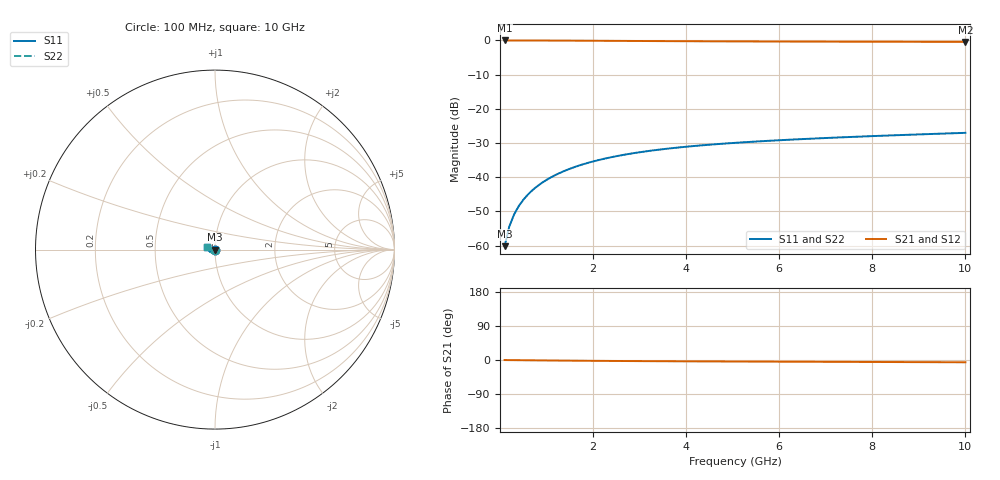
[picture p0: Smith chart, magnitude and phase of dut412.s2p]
! Touchstone file exported from HFSS 2024.1.0
!  File:  C:/UserFiles/LocalFiles/RDL_TSV_Batchsim/temp_TSV1_412_1779692603.aedt
!  Generated:  03:09:39 PM May 25, 2026
!  Design:  TSV1
!  Project:  temp_TSV1_412_1779692603
!  Setup:  Setup1
!  Solution:  Sweep
! Variables:
!  dtsv = 7.02um
!  hbump = 3um
!  htsv = 94.07um
!  lrdl = 252.1521522um
!  p = 40
!  p1 = 46.27um
!  t = 500um
!  trdl = 3um
!  wrdl = 24.89489489um
# GHz S MA R 50.000000
! Terminal data exported
! Port[1] = TSV22_T1
! Port[2] = TSV22_T2
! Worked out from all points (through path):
!   100 points, 100 MHz to 10 GHz, reference 50 ohm
!   highest |S21| = 0.00 dB at 100 MHz (marker M1); lowest = -0.4 dB at 10 GHz (marker M2)
!   lowest |S11| = -60.2 dB at 100 MHz (marker M3), VSWR 1.00, Z = 50 - j0.0934 ohm
!   |S11| at or under -10 dB: start of sweep to end of sweep
!   |S22| runs from -60.2 to -27.0 dB; largest |S21 - S12| = 7e-15
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0.1  0.0009789 -72.5  0.9996 -0.1  0.9996 -0.1  0.0009789 -72.5
! Gamma 0 0 0 0
! Port Impedance 50 0 50 0
0.2  0.001892 -83.7  0.9995 -0.2  0.9995 -0.2  0.001892 -83.7
0.3  0.002817 -88.8  0.9994 -0.4  0.9994 -0.4  0.002817 -88.8
0.4  0.00374 -92.4  0.9992 -0.5  0.9992 -0.5  0.00374 -92.4
0.5  0.004659 -95.2  0.9989 -0.6  0.9989 -0.6  0.004659 -95.2
0.6  0.00557 -97.7  0.9985 -0.7  0.9985 -0.7  0.00557 -97.7
0.7  0.006474 -100.0  0.9982 -0.8  0.9982 -0.8  0.006474 -100.0
0.8  0.007367 -102.1  0.9977 -1.0  0.9977 -1.0  0.007367 -102.1
0.9  0.008249 -104.2  0.9973 -1.1  0.9973 -1.1  0.008249 -104.2
1.1  0.009976 -108.2  0.9962 -1.3  0.9962 -1.3  0.009976 -108.2
1.4  0.01246 -113.7  0.9942 -1.6  0.9942 -1.6  0.01246 -113.7
1.6  0.01403 -117.2  0.9928 -1.8  0.9928 -1.8  0.01403 -117.2
1.8  0.01554 -120.6  0.9913 -2.0  0.9913 -2.0  0.01554 -120.6
2.1  0.01767 -125.5  0.9889 -2.3  0.9889 -2.3  0.01767 -125.5
2.5  0.02026 -131.6  0.9857 -2.6  0.9857 -2.6  0.02026 -131.6
2.9  0.0226 -137.3  0.9825 -2.8  0.9825 -2.8  0.0226 -137.3
3.4  0.02518 -143.9  0.9787 -3.2  0.9787 -3.2  0.02518 -143.9
4.2  0.02868 -153.3  0.9732 -3.6  0.9732 -3.6  0.02868 -153.3
5.1  0.03193 -162.4  0.9681 -4.0  0.9681 -4.0  0.03193 -162.4
6.7  0.03661 -176.0  0.9614 -4.7  0.9614 -4.7  0.03661 -176.0
8.4  0.04082 172.4  0.9565 -5.4  0.9565 -5.4  0.04082 172.4
10  0.0445 163.3  0.9532 -6.0  0.9532 -6.0  0.0445 163.3
